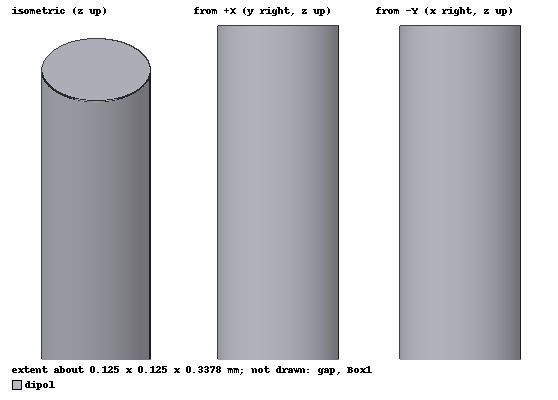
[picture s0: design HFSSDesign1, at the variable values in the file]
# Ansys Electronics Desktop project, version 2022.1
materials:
  vacuum: permittivity=1
  pec: conductivity=1e+30

design HFSSDesign1 (HFSS, DrivenModal, model units mm)
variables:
  lambda = c0/2.5GHz
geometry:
  dipol [pec] = cylinder(axis=Z, base_centre=(0mm, 0mm, (-60/2) mm), radius=0.0625mm, height=60mm)
  gap [vacuum] = cylinder(axis=Z, base_centre=(0mm, 0mm, -0.0625mm), radius=0.0625mm, height=0.125mm)
  gap_1 = gap.copy()
  dipol.subtract(gap_1)
  port = gap.section(plane=YZ)
  Box1 [vacuum] = box(corner=(-20mm, -25mm, -45mm), size=(40mm, 50mm, 80mm))
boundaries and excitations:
  Rad1: Radiation Objects=Box1
  1: Lumped Port Objects=port Modes{Mode1{IntLine{(0, 0, -0.0625) -> (0, 0, 0.0625)} CharImp=Zpi RenormImp=50ohm}} Impedance=50ohm
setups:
  Setup1: HfssDriven Frequency=2.5GHz MaxDeltaS=0.02 MaximumPasses=10 MinimumPasses=1 MinimumConvergedPasses=1 PercentRefinement=30 BasisOrder=1 PortAccuracy=2 DrivenSolverType="Direct Solver"
    sweep Sweep: 2GHz to 3.75GHz step 0.02GHz; Type=Fast SaveFields
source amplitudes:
  1:1: 1W 0deg
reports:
  S Parameter Plot 1: dB(S(1,1)) vs Freq on Setup1 : Sweep
